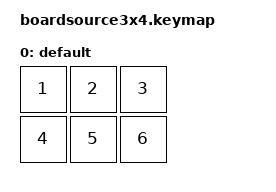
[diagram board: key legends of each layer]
/*
 * Copyright (c) 2020 The ZMK Contributors
 *
 * SPDX-License-Identifier: MIT
 */

#include <behaviors.dtsi>
#include <dt-bindings/zmk/keys.h>

/ {
    keymap {
        compatible = "zmk,keymap";

        default {
            bindings = <
&kp N1  &kp N2  &kp N3  
&kp N4  &kp N5  &kp N6
            >;
        };
    };
};
